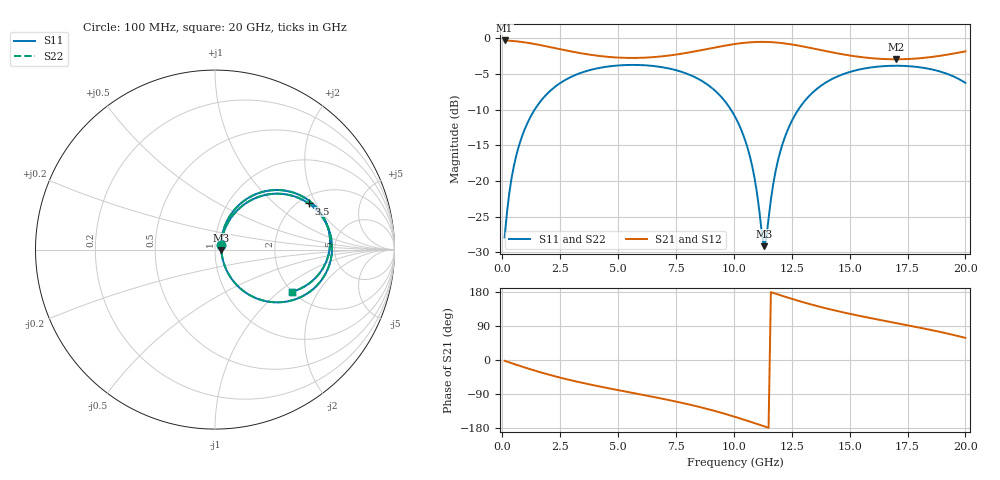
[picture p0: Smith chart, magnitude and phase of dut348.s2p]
! Touchstone file exported from HFSS 2026.1.0
!  File:  C:/ffzhzh/LocalFiles/Ansys_Project_Files/temp_train_TSV_RDL_348_1783035974_46388.aedt
!  Generated:  08:05:11 AM Jul  3, 2026
!  Design:  TSV_RDL
!  Project:  temp_train_TSV_RDL_348_1783035974_46388
! Variables:
!  h_bsmrdl = 2.38um
!  h_ox = 20um
!  h_rdl = 5um
!  h_sub = 65.19um
!  h_tmrdl = 5.7um
!  h_tsv = 65.19um
!  h_via = 3um
!  l_bsmrdl = 705.58um
!  l_sub = 5380.04um
!  l_tmrdl = 690.16um
!  m_sub = 200um
!  pitch = 55.16um
!  r_tsv = 5.75um
!  s_tmrdl = 10um
!  w_bsmrdl = 23.91um
!  w_sub = 500um
!  w_tmrdl = 10.31um
!  x_tsv_center1 = 695.315um
!  x_tsv_center2 = 1424.805um
!  x_tsv_center3 = 2125.275um
!  x_tsv_center4 = 2854.765um
!  x_tsv_center5 = 3555.235um
!  x_tsv_center6 = 4284.725um
# GHz S MA R 50.000000
! Terminal data exported
! Port[1] = TM_RDL1_1_T1
! Port[2] = TM_RDL5_1_T1
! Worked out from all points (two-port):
!   200 points, 100 MHz to 20 GHz, reference 50 ohm
!   highest |S21| = -0.28 dB at 100 MHz (marker M1); lowest = -2.9 dB at 17 GHz (marker M2)
!   |S21| within 3 dB of the highest: start of sweep to end of sweep
!   lowest |S11| = -29.2 dB at 11.3 GHz (marker M3), VSWR 1.07, Z = 53.6 - j0.255 ohm
!   |S11| at or under -10 dB: start of sweep to 1.397 GHz; 9.874 GHz to 12.78 GHz (2.91 GHz wide, 25.7 % of centre)
!   |S22| runs from -29.1 to -3.7 dB; largest |S21 - S12| = 1.7e-14
!   S11 on the Smith chart (normalised r, x): 100 MHz: 1.06, +0.05; 3.5 GHz: 2.24, +1.74; 20 GHz: 1.99, -1.23
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0.1  0.04007 37.3  0.9687 -2.1  0.9687 -2.1  0.04007 37.3
! Gamma 0 0 0 0
! Port Impedance 50 0 50 0
0.3  0.08172 60.5  0.965 -6.3  0.965 -6.3  0.08172 60.5
0.5  0.1273 64.4  0.9591 -10.4  0.9591 -10.4  0.1273 64.4
1.1  0.2579 60.0  0.9321 -22.3  0.9321 -22.3  0.2579 60.0
2.1  0.4334 45.4  0.8677 -40.1  0.8677 -40.1  0.4334 45.4
3.5  0.5816 26.2  0.7826 -60.9  0.7826 -60.9  0.5816 26.2
5.1  0.6483 7.4  0.7333 -80.7  0.7333 -80.7  0.6483 7.4
6.8  0.6326 -11.7  0.7465 -100.8  0.7465 -100.8  0.6326 -11.6
8.7  0.4943 -35.8  0.8346 -126.8  0.8346 -126.8  0.4943 -35.8
10.1  0.273 -56.0  0.9175 -151.0  0.9175 -151.0  0.2731 -55.9
10.8  0.1253 -60.6  0.9425 -164.7  0.9425 -164.7  0.1254 -60.4
11.3  0.03483 -3.9  0.9467 -174.8  0.9467 -174.8  0.03527 -3.8
11.4  0.03933 30.2  0.946 -176.9  0.946 -176.9  0.0397 29.9
11.7  0.09483 64.4  0.9409 177.1  0.9409 177.1  0.09498 64.2
12.1  0.181 67.1  0.9276 169.1  0.9276 169.1  0.181 66.9
12.7  0.301 60.4  0.8968 157.7  0.8968 157.7  0.301 60.4
13.4  0.4169 50.5  0.8523 145.5  0.8523 145.5  0.4169 50.5
14.8  0.5678 31.7  0.7692 124.6  0.7692 124.6  0.5678 31.7
16.7  0.6423 9.9  0.7155 101.1  0.7155 101.1  0.6423 9.9
17  0.6437 6.6  0.7145 97.6  0.7145 97.6  0.6437 6.6
18.5  0.6091 -10.1  0.7402 79.4  0.7402 79.4  0.6091 -10.1
20  0.4883 -28.7  0.8124 58.4  0.8124 58.4  0.4884 -28.8
